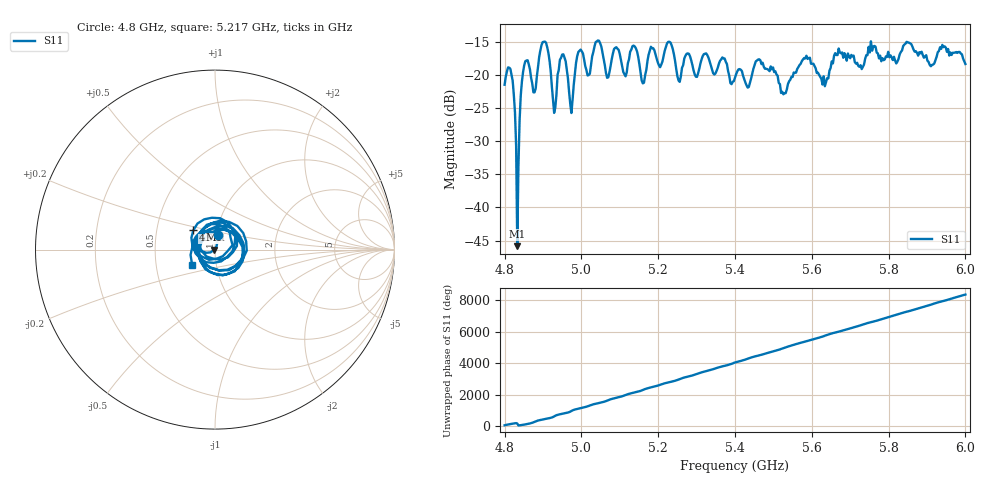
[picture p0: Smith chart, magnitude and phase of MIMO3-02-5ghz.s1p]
! NanoVNA-App
! Date: 2026-05-22 19:20:17
! Start: 4.8GHz Stop: 6GHz Points: 401
! S-Parameter data: F S11
# Hz S RI R 50
!  Frequency  S11_Real  S11_Imag
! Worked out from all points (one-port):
!   401 points, 4.8 GHz to 6 GHz, reference 50 ohm
!   lowest |S11| = -45.8 dB at 4.833 GHz (marker M1), VSWR 1.01, Z = 49.5 - j0.0774 ohm
!   |S11| at or under -10 dB: start of sweep to end of sweep
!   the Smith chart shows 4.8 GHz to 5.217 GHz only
!   S11 on the Smith chart (normalised r, x): 4.8 GHz: 1.03, +0.17; 4.911 GHz: 0.77, +0.17; 5.217 GHz: 0.76, -0.13
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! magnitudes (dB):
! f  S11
! 4.8 GHz  -21.5
! 4.818 GHz  -20.0
! 4.833 GHz  -45.8
! 4.854 GHz  -17.9
! 4.878 GHz  -22.6
! 4.896 GHz  -15.5
! 4.911 GHz  -15.8
! 4.929 GHz  -25.7
! 4.95 GHz  -16.9
! 4.974 GHz  -25.7
! 4.995 GHz  -16.3
! 5.016 GHz  -20.1
! 5.043 GHz  -14.8
! 5.067 GHz  -20.4
! 5.1 GHz  -16.8
! 5.115 GHz  -20.2
! 5.139 GHz  -15.7
! 5.16 GHz  -21.3
! 5.181 GHz  -15.7
! 5.217 GHz  -16.3
! 5.232 GHz  -15.1
! 5.25 GHz  -20.2
! 5.322 GHz  -16.8
! 5.4 GHz  -20.4
! 5.55 GHz  -20.3
! 5.7 GHz  -17.5
! 5.85 GHz  -15.1
! 6 GHz  -18.3
